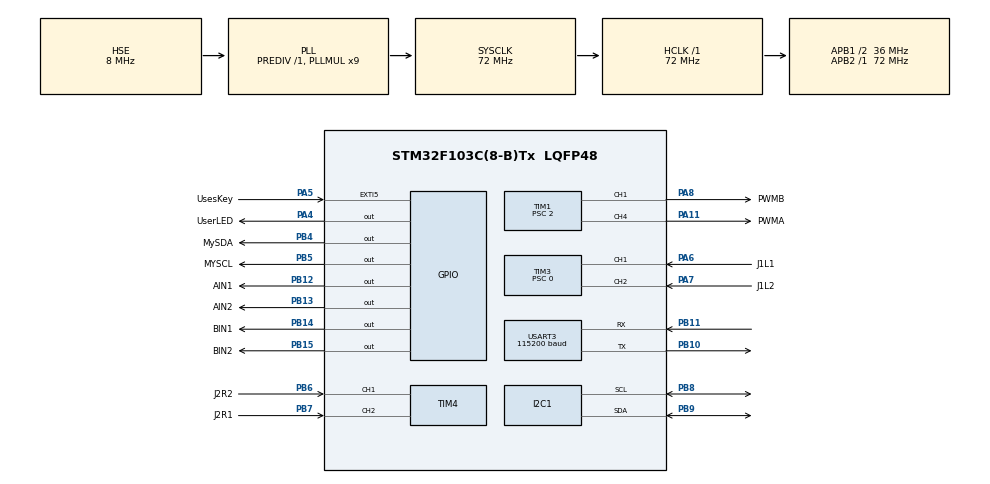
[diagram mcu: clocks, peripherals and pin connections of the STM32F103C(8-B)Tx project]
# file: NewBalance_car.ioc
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Mcu.Family=STM32F1
Mcu.Name=STM32F103C(8-B)Tx
Mcu.Package=LQFP48
NVIC.EXTI9_5_IRQn=true\:0\:0\:true\:false\:true\:true\:true\:true
NVIC.PriorityGroup=NVIC_PRIORITYGROUP_3
NVIC.TIM2_IRQn=true\:2\:0\:true\:false\:true\:true\:true\:true
NVIC.USART3_IRQn=true\:0\:1\:false\:false\:true\:true\:true\:true
PA11.GPIO_Label=PWMA
PA11.Signal=S_TIM1_CH4
PA13.Mode=Serial_Wire
PA13.Signal=SYS_JTMS-SWDIO
PA14.Mode=Serial_Wire
PA14.Signal=SYS_JTCK-SWCLK
PA4.GPIO_Label=UserLED
PA4.GPIO_PuPd=GPIO_PULLUP
PA4.PinState=GPIO_PIN_SET
PA4.Signal=GPIO_Output
PA5.GPIO_Label=UsesKey
PA5.GPIO_ModeDefaultEXTI=GPIO_MODE_IT_FALLING
PA5.GPIO_PuPd=GPIO_PULLUP
PA5.Signal=GPXTI5
PA6.GPIO_Label=J1L1
PA6.Signal=S_TIM3_CH1
PA7.GPIO_Label=J1L2
PA7.Signal=S_TIM3_CH2
PA8.GPIO_Label=PWMB
PA8.Signal=S_TIM1_CH1
PB10.Mode=Asynchronous
PB10.Signal=USART3_TX
PB11.Mode=Asynchronous
PB11.Signal=USART3_RX
PB12.GPIO_Label=AIN1
PB12.GPIO_ModeDefaultOutputPP=GPIO_MODE_OUTPUT_PP
PB12.PinState=GPIO_PIN_RESET
PB12.Signal=GPIO_Output
PB13.GPIO_Label=AIN2
PB13.GPIO_ModeDefaultOutputPP=GPIO_MODE_OUTPUT_PP
PB13.PinState=GPIO_PIN_RESET
PB13.Signal=GPIO_Output
PB14.GPIO_Label=BIN1
PB14.GPIO_ModeDefaultOutputPP=GPIO_MODE_OUTPUT_PP
PB14.PinState=GPIO_PIN_RESET
PB14.Signal=GPIO_Output
PB15.GPIO_Label=BIN2
PB15.GPIO_ModeDefaultOutputPP=GPIO_MODE_OUTPUT_PP
PB15.PinState=GPIO_PIN_RESET
PB15.Signal=GPIO_Output
PB4.GPIO_Label=MySDA
PB4.GPIO_ModeDefaultOutputPP=GPIO_MODE_OUTPUT_OD
PB4.GPIO_PuPd=GPIO_PULLUP
PB4.GPIO_Speed=GPIO_SPEED_FREQ_HIGH
PB4.Signal=GPIO_Output
PB5.GPIO_Label=MYSCL
PB5.GPIO_ModeDefaultOutputPP=GPIO_MODE_OUTPUT_OD
PB5.GPIO_PuPd=GPIO_PULLUP
PB5.GPIO_Speed=GPIO_SPEED_FREQ_HIGH
PB5.Signal=GPIO_Output
PB6.GPIO_Label=J2R2
PB6.Signal=S_TIM4_CH1
PB7.GPIO_Label=J2R1
PB7.Signal=S_TIM4_CH2
PB8.Mode=I2C
PB8.Signal=I2C1_SCL
PB9.GPIO_Mode=GPIO_MODE_AF_OD
PB9.Mode=I2C
PB9.Signal=I2C1_SDA
PD0-OSC_IN.Mode=HSE-External-Oscillator
PD0-OSC_IN.Signal=RCC_OSC_IN
PD1-OSC_OUT.Mode=HSE-External-Oscillator
PD1-OSC_OUT.Signal=RCC_OSC_OUT
ProjectManager.HeapSize=0x200
ProjectManager.StackSize=0x400
ProjectManager.TargetToolchain=MDK-ARM V5.32
RCC.AHBFreq_Value=72000000
RCC.APB1CLKDivider=RCC_HCLK_DIV2
RCC.APB1Freq_Value=36000000
RCC.APB1TimFreq_Value=72000000
RCC.APB2Freq_Value=72000000
RCC.APB2TimFreq_Value=72000000
RCC.HCLKFreq_Value=72000000
RCC.PLLMUL=RCC_PLL_MUL9
RCC.PLLSourceVirtual=RCC_PLLSOURCE_HSE
RCC.SYSCLKFreq_VALUE=72000000
RCC.SYSCLKSource=RCC_SYSCLKSOURCE_PLLCLK
RCC.USBFreq_Value=72000000
SH.S_TIM1_CH1.0=TIM1_CH1,PWM Generation1 CH1
SH.S_TIM1_CH4.0=TIM1_CH4,PWM Generation4 CH4
SH.S_TIM3_CH1.0=TIM3_CH1,Encoder_Interface
SH.S_TIM3_CH2.0=TIM3_CH2,Encoder_Interface
SH.S_TIM4_CH1.0=TIM4_CH1,Encoder_Interface
SH.S_TIM4_CH2.0=TIM4_CH2,Encoder_Interface
TIM1.AutoReloadPreload=TIM_AUTORELOAD_PRELOAD_DISABLE
TIM1.Channel-PWM\ Generation1\ CH1=TIM_CHANNEL_1
TIM1.Channel-PWM\ Generation4\ CH4=TIM_CHANNEL_4
TIM1.Period=3600-1
TIM1.Prescaler=2
TIM1.Pulse-PWM\ Generation1\ CH1=0
TIM1.Pulse-PWM\ Generation4\ CH4=0
TIM2.AutoReloadPreload=TIM_AUTORELOAD_PRELOAD_ENABLE
TIM2.Period=1000-1
TIM2.Prescaler=71
TIM3.AutoReloadPreload=TIM_AUTORELOAD_PRELOAD_DISABLE
TIM3.EncoderMode=TIM_ENCODERMODE_TI12
TIM3.Period=65535
TIM3.Prescaler=0
TIM4.EncoderMode=TIM_ENCODERMODE_TI12
USART3.BaudRate=115200
USART3.VirtualMode=VM_ASYNC
VP_TIM1_VS_ClockSourceINT.Mode=Internal
VP_TIM2_VS_ClockSourceINT.Mode=Internal
board=custom

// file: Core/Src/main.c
/* USER CODE BEGIN Header */
/**
 ******************************************************************************
 * @file           : main.c
 * @brief          : Main program body
 ******************************************************************************
 * @attention
 *
 * Copyright (c) 2026 STMicroelectronics.
 * All rights reserved.
 *
 * This software is licensed under terms that can be found in the LICENSE file
 * in the root directory of this software component.
 * If no LICENSE file comes with this software, it is provided AS-IS.
 *
 ******************************************************************************
 */
/* USER CODE END Header */
#include "main.h"
#include "i2c.h"
#include "tim.h"
#include "usart.h"
#include "gpio.h"

/* USER CODE BEGIN Includes */
#include "AllHead.h" // 自定义硬件驱动（OLED、MPU6050、软件I2C等）
#include <string.h>
/* USER CODE END Includes */

void SystemClock_Config(void);
/* USER CODE BEGIN PFP */
uint8_t SenData[MAXLEN + 1];
uint8_t ReciveData[MAXLEN + 1];

/* USER CODE END PFP */

int main(void)
{

  /* MCU Configuration--------------------------------------------------------*/

  /* Reset of all peripherals, Initializes the Flash interface and the Systick. */
  HAL_Init();

  /* Configure the system clock */
  SystemClock_Config();

  /* Initialize all configured peripherals */
  MX_GPIO_Init();
  MX_TIM1_Init();
  MX_TIM2_Init();
  MX_I2C1_Init();
  MX_TIM4_Init();
  MX_TIM3_Init();
  MX_USART3_UART_Init();
  /* USER CODE BEGIN 2 */
  // 自定义初始化
  HAL_Delay(200); // 等待外设上电稳定
  ALL_Init();     // 各模块初始化
  ALL_Start();    // PWM、编码器、定时器中断、串口接收启动
  // OLED_FastFresh(LINE1, ROLL8, "OK");
  /* USER CODE END 2 */

  /* Infinite loop */
  /* USER CODE BEGIN WHILE */
  while (1)
  {
    /*******************************代码调试开始********************************/
    static uint32_t last_tick = 0;
    // 蓝牙测试与MPU测试
    if (HAL_GetTick() - last_tick >= 10)
    {
      // sprintf((char *)SenData, "[plot,%.1f]", Angle);
      sprintf((char *)SenData, "[plot,%.1f]", Angle);
      OLED_FastFresh(LINE1, ROLL1, SenData);
      Serial_SenData((uint8_t *)SenData, (uint16_t)strlen((char *)SenData));

      // static uint32_t last_gyro_display_tick = 0;
      // if (HAL_GetTick() - last_gyro_display_tick >= 100U)
      // {
      //   OLED_ClearArea(ROLL9, LINE5, 64, 16);
      //   sprintf((char *)SenData, "Gx:%d", Gx);
      //   OLED_ShowString(ROLL9, LINE5, (char *)SenData, OLED_6X8);
      //   sprintf((char *)SenData, "Ay:%d", Ay);
      //   OLED_ShowString(ROLL9, LINE6, (char *)SenData, OLED_6X8);
      //   OLED_UpdateArea(ROLL9, LINE5, 64, 16);
      //   last_gyro_display_tick = HAL_GetTick();
      // }

      uint8_t RxData[MAXLEN + 1];
      uint8_t RxReady = 0;
      uint32_t primask = __get_PRIMASK();
      __disable_irq();
      if (Serial_RxReady)
      {
        memcpy(RxData, ReciveData, Serial_RxLength + 1);
        Serial_RxReady = 0;
        RxReady = 1;
      }
      if (!primask)
        __enable_irq();

      // 蓝牙Alpha调试
      // if (RxReady)
      // {
      //   float Alpha_Value;
      //   int Alpha_End = 0;

      //   if (sscanf((char *)RxData, "[slider,Alpha,%f]%n", &Alpha_Value, &Alpha_End) == 1 &&
      //       Alpha_End > 0 && RxData[Alpha_End] == '\0' &&
      //       Alpha_Value >= 0.0f && Alpha_Value <= 1.0f)
      //   {
      //     Alpha = Alpha_Value;
      //     OLED_ClearArea(ROLL1, LINE7, 128, 8);
      //     sprintf((char *)SenData, "Alpha:%.2f", Alpha);
      //     OLED_ShowString(ROLL1, LINE7, (char *)SenData, OLED_6X8);
      //     OLED_UpdateArea(ROLL1, LINE7, 128, 8);
      //   }
      // }
      /* 蓝牙数据包统一交给 BlueSerial.c 解析。 */
      if (RxReady)
      {
        uint8_t BlueStatus = BlueSerial_ProcessPacket((char *)RxData);

        if ((BlueStatus & BLUESERIAL_UPDATE_PID) != 0U)
        {
          OLED_ClearArea(ROLL1, LINE3, 128, 16);
          sprintf((char *)SenData, "N:%s", BlueSerial_LastSliderName);
          OLED_ShowString(ROLL1, LINE3, (char *)SenData, OLED_6X8);
          sprintf((char *)SenData, "V:%.3f", BlueSerial_LastSliderValue);
          OLED_ShowString(ROLL1, LINE4, (char *)SenData, OLED_6X8);
          OLED_UpdateArea(ROLL1, LINE3, 128, 16);
        }
      }
      //------------------------------------------//

      last_tick = HAL_GetTick();
    }

    // motor调试
    // Motor_SetSpeed(1, 1000);
    // Motor_SetSpeed(2, 1000);

    // 编码器极性测试
    // char Encoder_Temp[MAXLEN + 1];
    // // int16_t temp_EL = (int16_t)(-(Encoder_GetCount(2)));
    // // int16_t temp_ER = Encoder_GetCount(1);
    // // sprintf(Encoder_Temp, "EL:%d,ER:%d", temp_EL, temp_ER);
    // // OLED_FastFresh(LINE3, ROLL1, (uint8_t *)Encoder_Temp);
    // int16_t temp_EL = (int16_t)(-(Encoder_GetRawCount(1)));
    // int16_t temp_ER = (int16_t)(-(Encoder_GetRawCount(2)));

    // sprintf(Encoder_Temp, "EL:%d ER:%d", temp_EL, temp_ER);
    // OLED_FastFresh(LINE3, ROLL1, (uint8_t *)Encoder_Temp);
    /*******************************代码调试结束********************************/
    /* USER CODE END WHILE */

  }
}

void SystemClock_Config(void)
{
  RCC_OscInitTypeDef RCC_OscInitStruct = {0};
  RCC_ClkInitTypeDef RCC_ClkInitStruct = {0};

  /** Initializes the RCC Oscillators according to the specified parameters
   * in the RCC_OscInitTypeDef structure.
   */
  RCC_OscInitStruct.OscillatorType = RCC_OSCILLATORTYPE_HSE;
  RCC_OscInitStruct.HSEState = RCC_HSE_ON;
  RCC_OscInitStruct.HSEPredivValue = RCC_HSE_PREDIV_DIV1;
  RCC_OscInitStruct.HSIState = RCC_HSI_ON;
  RCC_OscInitStruct.PLL.PLLState = RCC_PLL_ON;
  RCC_OscInitStruct.PLL.PLLSource = RCC_PLLSOURCE_HSE;
  RCC_OscInitStruct.PLL.PLLMUL = RCC_PLL_MUL9;
  if (HAL_RCC_OscConfig(&RCC_OscInitStruct) != HAL_OK)
  {
    Error_Handler();
  }

  /** Initializes the CPU, AHB and APB buses clocks
   */
  RCC_ClkInitStruct.ClockType = RCC_CLOCKTYPE_HCLK | RCC_CLOCKTYPE_SYSCLK | RCC_CLOCKTYPE_PCLK1 | RCC_CLOCKTYPE_PCLK2;
  RCC_ClkInitStruct.SYSCLKSource = RCC_SYSCLKSOURCE_PLLCLK;
  RCC_ClkInitStruct.AHBCLKDivider = RCC_SYSCLK_DIV1;
  RCC_ClkInitStruct.APB1CLKDivider = RCC_HCLK_DIV2;
  RCC_ClkInitStruct.APB2CLKDivider = RCC_HCLK_DIV1;

  if (HAL_RCC_ClockConfig(&RCC_ClkInitStruct, FLASH_LATENCY_2) != HAL_OK)
  {
    Error_Handler();
  }
}

void Error_Handler(void)
{
  __disable_irq();
  while (1)
  {
  }
}
